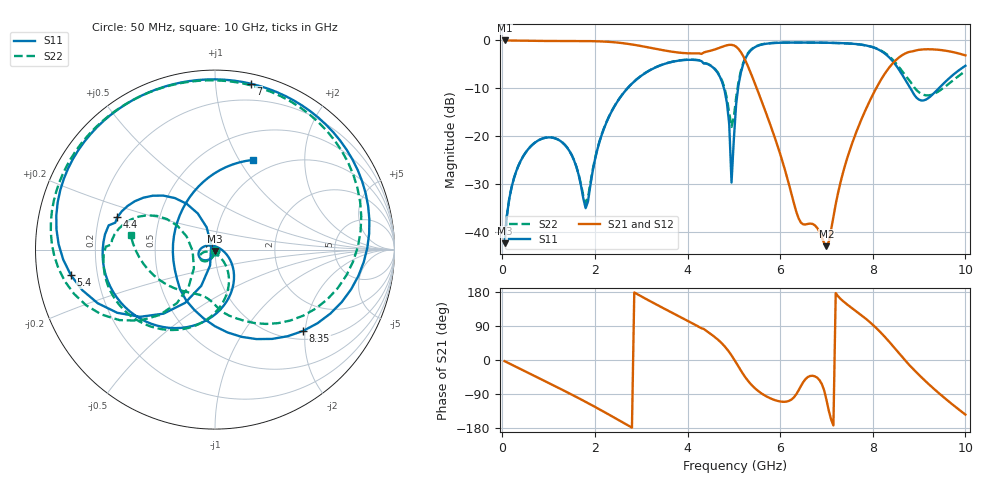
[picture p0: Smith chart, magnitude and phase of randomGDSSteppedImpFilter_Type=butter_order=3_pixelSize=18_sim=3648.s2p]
! freq	dB(S11)	phase(S11)	dB(S12)	phase(S12)
!  dB(S21)	phase(S21)	dB(S22)	phase(S22)
!S-par simulation data
#  GHz  S  DB  R 50
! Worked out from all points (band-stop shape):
!   200 points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, 50 MHz to 10 GHz, reference 50 ohm
!   highest |S21| = -0.01 dB at 50 MHz (marker M1); lowest = -43.0 dB at 7 GHz (marker M2)
!   |S21| within 3 dB of the highest: start of sweep to 5.185 GHz; 8.649 GHz to 9.96 GHz (1.31 GHz wide, 14.1 % of centre)
!   lowest |S11| = -42.5 dB at 50 MHz (marker M3), VSWR 1.02, Z = 50 - j0.753 ohm
!   |S11| at or under -10 dB: start of sweep to 2.705 GHz; 4.786 GHz to 5.092 GHz (305.8 MHz wide, 6.19 % of centre); 8.815 GHz to 9.427 GHz (612.3 MHz wide, 6.71 % of centre)
!   |S22| runs from -42.5 to -0.4 dB; largest |S21 - S12| = 0
!   S11 on the Smith chart (normalised r, x): 50 MHz: 1.00, -0.02; 4.4 GHz: 0.28, +0.15; 5.4 GHz: 0.10, -0.09; 7 GHz: 0.07, +1.23; 8.35 GHz: 1.19, -1.95; 10 GHz: 0.81, +1.15
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0.05  -42.46 -90.8  -0.01 -3.1  -0.01 -3.1  -42.46 -90.4
0.3  -27.40 -109.4  -0.04 -18.3  -0.04 -18.3  -27.39 -106.9
0.8  -20.80 -142.6  -0.10 -48.4  -0.10 -48.4  -20.79 -135.3
1.4  -22.42 173.7  -0.13 -85.1  -0.13 -85.1  -22.40 -164.4
1.75  -33.09 111.0  -0.13 -107.2  -0.13 -107.2  -32.53 -143.5
2.6  -11.22 -73.2  -0.57 -164.6  -0.57 -164.6  -11.18 -78.3
3.4  -5.27 -130.7  -1.92 141.7  -1.92 141.7  -5.24 -127.0
4.4  -4.83 161.7  -2.37 77.3  -2.37 77.3  -4.79 174.6
4.8  -10.46 121.7  -1.16 36.2  -1.16 36.2  -10.02 147.5
4.9  -17.53 110.5  -0.92 20.9  -0.92 20.9  -15.17 155.2
4.95  -29.73 130.4  -0.92 12.2  -0.92 12.2  -18.08 -176.7
5.05  -13.31 -110.8  -1.31 -7.1  -1.31 -7.1  -11.93 -125.4
5.2  -5.02 -138.2  -3.25 -36.9  -3.25 -36.9  -4.77 -136.7
5.4  -1.77 -169.9  -7.66 -68.0  -7.66 -68.0  -1.68 -162.7
6.4  -0.44 113.0  -37.25 -79.7  -37.25 -79.7  -0.43 128.7
6.7  -0.45 95.7  -38.38 -41.5  -38.38 -41.5  -0.45 112.6
7  -0.48 77.9  -43.04 -105.0  -43.04 -105.0  -0.49 95.8
7.85  -1.04 15.8  -14.41 108.9  -14.41 108.9  -1.04 33.4
8.35  -3.50 -42.6  -5.74 48.8  -5.74 48.8  -3.29 -23.8
8.75  -8.99 -108.9  -2.52 -7.9  -2.52 -7.9  -7.90 -72.4
9.25  -11.68 143.5  -1.85 -68.4  -1.85 -68.4  -11.42 -113.1
10  -5.30 66.9  -3.12 -144.1  -3.12 -144.1  -6.41 169.9
